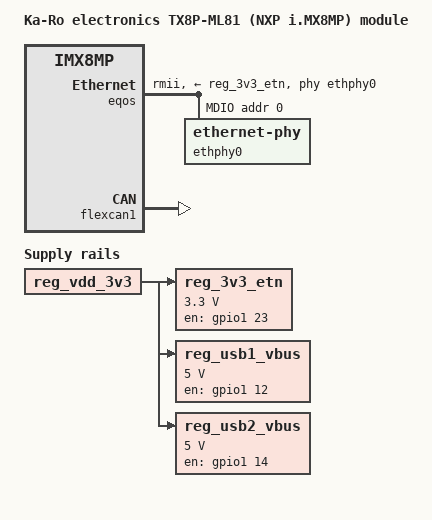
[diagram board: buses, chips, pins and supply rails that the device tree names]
// SPDX-License-Identifier: (GPL-2.0 OR MIT)
/*
 * Copyright (C) 2020 Lothar Waßmann <LW@KARO-electronics.de>
 *
 */

/dts-v1/;

#include "imx8mp-karo.dtsi"

/ {
	model = "Ka-Ro electronics TX8P-ML81 (NXP i.MX8MP) module";
	compatible = "karo,imx8mp-tx8m", "fsl,imx8mp";

	aliases {
		can0 = &flexcan1;
		serial0 = &uart1;
		serial1 = &uart2;
		serial2 = &uart4;
	};

	reg_3v3_etn: regulator-3v3-etn {
		compatible = "regulator-fixed";
		pinctrl-names = "default";
		pinctrl-0 = <&pinctrl_reg_3v3_etn>;
		regulator-name = "3v3-etn";
		regulator-min-microvolt = <3300000>;
		regulator-max-microvolt = <3300000>;
		vin-supply = <&reg_vdd_3v3>;
		gpios = <&gpio1 23 GPIO_ACTIVE_HIGH>;
		enable-active-high;
	};

	reg_usb1_vbus: regulator-usb1-vbus {
		compatible = "regulator-fixed";
		pinctrl-names = "default";
		pinctrl-0 = <&pinctrl_usb1_vbus>;
		regulator-name = "usb1-vbus";
		regulator-min-microvolt = <5000000>;
		regulator-max-microvolt = <5000000>;
		vin-supply = <&reg_vdd_3v3>;
		gpios = <&gpio1 12 GPIO_ACTIVE_HIGH>;
		enable-active-high;
	};

	reg_usb2_vbus: regulator-usb2-vbus {
		compatible = "regulator-fixed";
		pinctrl-names = "default";
		pinctrl-0 = <&pinctrl_usb2_vbus>;
		regulator-name = "usb2-vbus";
		regulator-min-microvolt = <5000000>;
		regulator-max-microvolt = <5000000>;
		vin-supply = <&reg_vdd_3v3>;
		gpios = <&gpio1 14 GPIO_ACTIVE_HIGH>;
		enable-active-high;
	};
};

&eqos {
	pinctrl-names = "default", "sleep";
	pinctrl-0 = <&pinctrl_eqos>;
	pinctrl-1 = <&pinctrl_eqos_sleep>;
	clocks = <&clk IMX8MP_CLK_ENET1_ROOT>,
		 <&clk IMX8MP_CLK_SIM_ENET_ROOT>,
		 <&clk IMX8MP_CLK_ENET_TIMER>,
		 <&clk IMX8MP_CLK_ENET_REF>;
	assigned-clocks = <&clk IMX8MP_CLK_ENET_AXI>,
			  <&clk IMX8MP_CLK_ENET_QOS_TIMER>,
			  <&clk IMX8MP_CLK_ENET_QOS>;
	assigned-clock-parents = <&clk IMX8MP_SYS_PLL1_266M>,
				 <&clk IMX8MP_SYS_PLL2_100M>,
				 <&clk IMX8MP_SYS_PLL2_50M>;
	assigned-clock-rates = <0>, <100000000>, <50000000>;
	phy-mode = "rmii";
	phy-handle = <&ethphy0>;
	phy-supply = <&reg_3v3_etn>;
	status = "okay";

	mdio {
		#address-cells = <1>;
		#size-cells = <0>;
		compatible = "snps,dwmac-mdio";
		pinctrl-names = "default";
		pinctrl-0 = <&pinctrl_etnphy_rst_b>;
		reset-gpios = <&gpio4 22 GPIO_ACTIVE_LOW>;
		reset-delay-us = <25000>;

		ethphy0: ethernet-phy@0 {
			reg = <0>;
			clocks = <&clk IMX8MP_CLK_ENET_REF>;
		};
	};
};

&flexcan1 {
	pinctrl-names = "default";
	pinctrl-0 = <&pinctrl_flexcan1>;
	status = "okay";
};

&i2c3 {
	status = "disabled";
};

&i2c4 {
	status = "disabled";
};

&usb3_phy0 {
	vbus-supply = <&reg_usb1_vbus>;
};

&usb3_phy1 {
	vbus-supply = <&reg_usb2_vbus>;
};

&usb_dwc3_0 {
	pinctrl-names = "default";
	pinctrl-0 = <&pinctrl_usb1_oc>;
	oc-active-low;
};

&usb_dwc3_1 {
	pinctrl-names = "default";
	pinctrl-0 = <&pinctrl_usb2_oc>;
	oc-active-low;
};

&iomuxc {
	pinctrl_etnphy_int_b: etnphy-int-bgrp {
		fsl,pins = <
			    MX8MP_IOMUXC_SAI2_RXFS__GPIO4_IO21		0x90
		>;
	};

	pinctrl_etnphy_rst_b: etnphy-rst-bgrp {
		fsl,pins = <
			    MX8MP_IOMUXC_SAI2_RXC__GPIO4_IO22		0x140
		>;
	};

	pinctrl_flexcan1: flexcan1grp {
		fsl,pins = <
			 MX8MP_IOMUXC_SPDIF_RX__CAN1_RX 		0x140
			 MX8MP_IOMUXC_SPDIF_TX__CAN1_TX 		0x140
		>;
	};

	pinctrl_reg_3v3_etn: reg-3v3-etngrp {
		fsl,pins = <
			    MX8MP_IOMUXC_ENET_TXC__GPIO1_IO23		0x140
		>;
	};

	pinctrl_eqos: eqosgrp {
		fsl,pins = <
			    MX8MP_IOMUXC_ENET_MDC__ENET_QOS_MDC		0x142
			    MX8MP_IOMUXC_ENET_MDIO__ENET_QOS_MDIO	0x142
			    MX8MP_IOMUXC_ENET_TD2__CCM_ENET_QOS_CLOCK_GENERATE_REF_CLK 0x40000142
			    MX8MP_IOMUXC_ENET_TD0__ENET_QOS_RGMII_TD0	0x016
			    MX8MP_IOMUXC_ENET_TD1__ENET_QOS_RGMII_TD1	0x016
			    MX8MP_IOMUXC_ENET_RD0__ENET_QOS_RGMII_RD0	0x150
			    MX8MP_IOMUXC_ENET_RD1__ENET_QOS_RGMII_RD1	0x150
			    MX8MP_IOMUXC_ENET_RXC__ENET_QOS_RX_ER	0x110
			    MX8MP_IOMUXC_ENET_RX_CTL__ENET_QOS_RGMII_RX_CTL 0x156
			    MX8MP_IOMUXC_ENET_TX_CTL__ENET_QOS_RGMII_TX_CTL 0x016
		>;
	};

	pinctrl_eqos_sleep: eqos-sleep-grp {
		fsl,pins = <
			    MX8MP_IOMUXC_ENET_MDC__GPIO1_IO16		0x120
			    MX8MP_IOMUXC_ENET_MDIO__GPIO1_IO17		0x120
			    MX8MP_IOMUXC_ENET_TD2__GPIO1_IO19		0x120
			    MX8MP_IOMUXC_ENET_TD0__GPIO1_IO21		0x120
			    MX8MP_IOMUXC_ENET_TD1__GPIO1_IO20		0x120
			    MX8MP_IOMUXC_ENET_RD0__GPIO1_IO26		0x120
			    MX8MP_IOMUXC_ENET_RD1__GPIO1_IO27		0x120
			    MX8MP_IOMUXC_ENET_RXC__GPIO1_IO25		0x120
			    MX8MP_IOMUXC_ENET_RX_CTL__GPIO1_IO24	0x120
			    MX8MP_IOMUXC_ENET_TX_CTL__GPIO1_IO22	0x120
		>;
	};

	pinctrl_usb1_vbus: usb1-vbusgrp {
		fsl,pins = <
			MX8MP_IOMUXC_GPIO1_IO12__GPIO1_IO12		0x140
		>;
	};

	pinctrl_usb1_oc: usb1-ocgrp {
		fsl,pins = <
			MX8MP_IOMUXC_GPIO1_IO13__USB1_OC		0x140
		>;
	};

	pinctrl_usb2_vbus: usb2-vbusgrp {
		fsl,pins = <
			MX8MP_IOMUXC_GPIO1_IO14__GPIO1_IO14		0x140
		>;
	};

	pinctrl_usb2_oc: usb2-ocgrp {
		fsl,pins = <
			MX8MP_IOMUXC_GPIO1_IO15__USB2_OC		0x140
		>;
	};
};
